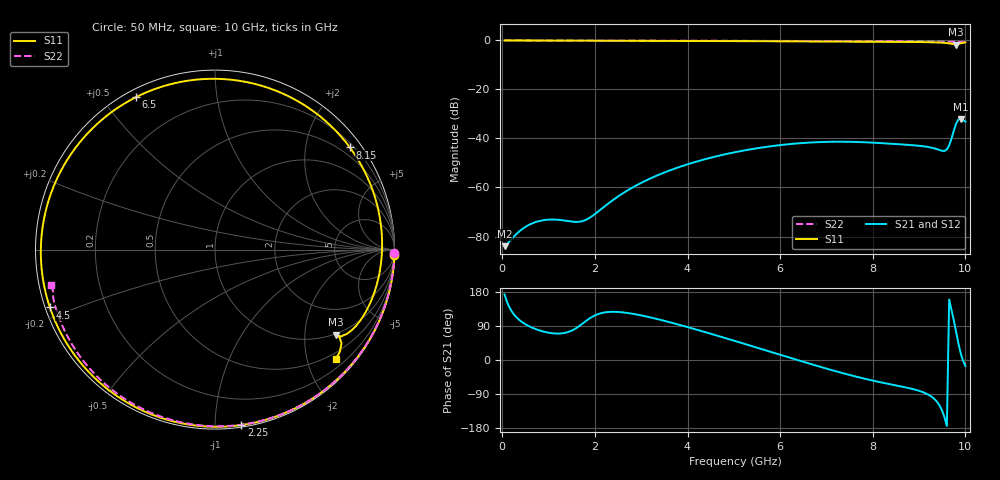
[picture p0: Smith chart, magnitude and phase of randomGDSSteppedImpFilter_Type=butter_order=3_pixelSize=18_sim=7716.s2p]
! freq	dB(S11)	phase(S11)	dB(S12)	phase(S12)
!  dB(S21)	phase(S21)	dB(S22)	phase(S22)
!S-par simulation data
#  GHz  S  DB  R 50
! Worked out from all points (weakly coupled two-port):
!   200 points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, 50 MHz to 10 GHz, reference 50 ohm
!   highest |S21| = -32.02 dB at 9.9 GHz (marker M1); lowest = -83.9 dB at 50 MHz (marker M2)
!   lowest |S11| = -1.7 dB at 9.8 GHz (marker M3), VSWR 10.36, Z = 48.3 - j143 ohm
!   |S11| at or under -10 dB: nowhere
!   |S22| runs from -0.6 to 0.0 dB; largest |S21 - S12| = 0
!   S11 on the Smith chart (normalised r, x): 50 MHz: 0, -62; 2.25 GHz: 0.01, -1.16; 4.5 GHz: 0.01, -0.17; 6.5 GHz: 0.03, +0.61; 8.15 GHz: 0.29, +2.95; 10 GHz: 0.37, -2.55
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0.05  -0.00 -1.9  -83.94 173.0  -83.94 173.0  -0.00 -1.0
0.25  -0.00 -9.3  -80.03 120.4  -80.03 120.4  -0.00 -4.9
0.55  -0.02 -20.4  -75.52 90.9  -75.52 90.9  -0.01 -10.6
0.85  -0.04 -31.4  -73.47 76.3  -73.47 76.3  -0.02 -16.4
1.75  -0.08 -63.8  -73.61 97.6  -73.61 97.6  -0.04 -33.3
2.25  -0.10 -81.4  -67.11 126.2  -67.11 126.2  -0.05 -42.5
2.8  -0.13 -100.6  -60.13 122.3  -60.13 122.3  -0.07 -52.5
3.4  -0.16 -121.5  -54.64 106.5  -54.64 106.5  -0.08 -63.1
4.5  -0.22 -160.7  -47.85 69.3  -47.85 69.3  -0.12 -81.8
5.05  -0.26 178.6  -45.50 49.2  -45.50 49.2  -0.14 -90.8
5.75  -0.32 150.4  -43.30 23.2  -43.30 23.2  -0.17 -102.1
6.5  -0.39 117.4  -41.83 -4.7  -41.83 -4.7  -0.22 -113.8
6.7  -0.40 108.1  -41.60 -12.0  -41.60 -12.0  -0.23 -116.9
7.4  -0.45 74.2  -41.33 -36.3  -41.33 -36.3  -0.28 -127.6
8.15  -0.51 37.1  -41.85 -58.4  -41.85 -58.4  -0.34 -139.0
8.35  -0.53 27.4  -42.08 -63.4  -42.08 -63.4  -0.36 -142.1
8.95  -0.63 -1.1  -42.89 -79.5  -42.89 -79.5  -0.42 -151.3
9.55  -0.98 -28.3  -45.08 -151.6  -45.08 -151.6  -0.50 -160.8
9.65  -1.20 -32.7  -42.78 159.6  -42.78 159.6  -0.52 -162.5
9.8  -1.68 -35.2  -33.91 74.6  -33.91 74.6  -0.59 -164.9
9.9  -1.14 -36.5  -32.02 17.0  -32.02 17.0  -0.61 -166.2
10  -0.84 -42.1  -33.11 -15.9  -33.11 -15.9  -0.60 -167.7
